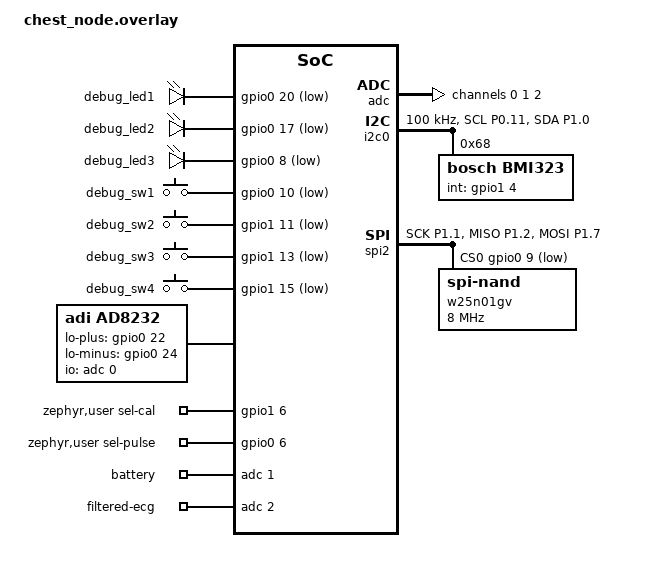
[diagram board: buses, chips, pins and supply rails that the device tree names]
/*
ad8232 
P0.22 - lo - plus
P0.24 - lo - minus
P0.29 - out
----------------
BMI323
P1.04 - int1
P0.11 - scl
P1.00 - sda
---------------
Led
P0.20 - led1
P0.17 - led2
P0.08 - led3
---------------
W25N01GV
P0.09 - cs
P1.01 - sck
P1.02 - miso
P1.07 - mosi
--------------
Switch 4
P0.10 - sw1 
P1.11 - sw2
P1.13 - sw3
P1.15 - sw4
-------------
Battery Monitoring 
P0.31 - bat
--------------
Bandpass filter
P0.02 - out-filter (analog signal)
-------------
74HC4053D/S400118
P0.06 - SEL_PULSE
P1.06 - SEL_CAL

Mode 
SEL_CAL SEL_PULSE     mode         Điện áp vi sai      
1           x        Đo ecg gốc 
1           x    
0           0        calibrate       0 mV
0           1        calibrate       +1 mV

*/

#include <zephyr/dt-bindings/adc/nrf-saadc.h>
#include <zephyr/dt-bindings/gpio/gpio.h>
#include <zephyr/dt-bindings/input/input-event-codes.h>
#include <zephyr/dt-bindings/i2c/i2c.h>
#include <zephyr/dt-bindings/pinctrl/nrf-pinctrl.h>

/ {
    /* Debug LEDs. */
    debug_leds {
        compatible = "gpio-leds";
        /* Assumes LEDs turn on when driven low. */
        debug_led1: led_1 {
            gpios = <&gpio0 20 GPIO_ACTIVE_LOW>;
        };
        debug_led2: led_2 {
            gpios = <&gpio0 17 GPIO_ACTIVE_LOW>;
        };
        debug_led3: led_3 {
            gpios = <&gpio0 8 GPIO_ACTIVE_LOW>;
        };
    };

    /* Debug switches. */
    debug_switches {
        compatible = "gpio-keys";
        /* Assumes switches connect the inputs to ground. */
        debug_sw1: switch_1 {
            gpios = <&gpio0 10 (GPIO_PULL_UP | GPIO_ACTIVE_LOW)>;
            zephyr,code = <INPUT_KEY_0>;
        };
        debug_sw2: switch_2 {
            gpios = <&gpio1 11 (GPIO_PULL_UP | GPIO_ACTIVE_LOW)>;
            zephyr,code = <INPUT_KEY_1>;
        };
        debug_sw3: switch_3 {
            gpios = <&gpio1 13 (GPIO_PULL_UP | GPIO_ACTIVE_LOW)>;
            zephyr,code = <INPUT_KEY_2>;
        };
        debug_sw4: switch_4 {
            gpios = <&gpio1 15 (GPIO_PULL_UP | GPIO_ACTIVE_LOW)>;
            zephyr,code = <INPUT_KEY_3>;
        };
    };

    ad8232: ad8232 {
        compatible = "adi,ad8232";              /* Bind node to AD8232 driver */
        io-channels = <&adc 0>;                 /* Connect AD8232 output to ADC */
        lo-plus-gpios  = <&gpio0 22 GPIO_ACTIVE_HIGH>;  /* Read LO+ status */
        lo-minus-gpios = <&gpio0 24 GPIO_ACTIVE_HIGH>;  /* Read LO- status */

        status = "okay";                        /* Enable device */
    };

    /* Battery and filtered ECG inputs, and calibration control outputs. */
    zephyr,user {
        io-channels = <&adc 1>, <&adc 2>;
        io-channel-names = "battery", "filtered-ecg";

        sel-cal-gpios = <&gpio1 6 GPIO_ACTIVE_HIGH>;
        sel-pulse-gpios = <&gpio0 6 GPIO_ACTIVE_HIGH>;
    };


};

/* ADC inputs for raw ECG, battery voltage, and filtered ECG. */
&adc {
    status = "okay";                            /* Enable ADC peripheral */

    #address-cells = <1>;
    #size-cells = <0>;

    /* AD8232 output: P0.29 / AIN5. */
    channel@0 {
        reg = <0>;                              /* Select ADC channel 0 */

        zephyr,gain = "ADC_GAIN_1_6";           /* Configure ADC gain */
        zephyr,reference = "ADC_REF_INTERNAL";  /* Use internal ADC reference */
        zephyr,acquisition-time = <ADC_ACQ_TIME_DEFAULT>; /* Set acquisition time */

        zephyr,input-positive = <NRF_SAADC_AIN5>; /* Select analog input ~ P029*/ 

        zephyr,resolution = <12>;               /* Set 12-bit resolution */
    };

    /* Battery: P0.31 / AIN7. */
    channel@1 {
        reg = <1>;
        zephyr,gain = "ADC_GAIN_1_6";
        zephyr,reference = "ADC_REF_INTERNAL";
        zephyr,acquisition-time = <ADC_ACQ_TIME_DEFAULT>;
        zephyr,input-positive = <NRF_SAADC_AIN7>;
        zephyr,resolution = <12>;
    };

    /* Filter output: P0.02 / AIN0. */
    channel@2 {
        reg = <2>;
        zephyr,gain = "ADC_GAIN_1_6";
        zephyr,reference = "ADC_REF_INTERNAL";
        zephyr,acquisition-time = <ADC_ACQ_TIME_DEFAULT>;
        zephyr,input-positive = <NRF_SAADC_AIN0>;
        zephyr,resolution = <12>;
    };


};

&i2c0 {
    status = "okay";                            /* Enable I2C controller */

    pinctrl-0 = <&bmi323_i2c_default>;                /* Use normal I2C pin state */
    pinctrl-1 = <&bmi323_i2c_sleep>;                  /* Use low-power pin state */
    pinctrl-names = "default", "sleep";         /* Define available pin states */

    clock-frequency = <I2C_BITRATE_STANDARD>;   /* Set I2C speed */

    /* BMI323 motion sensor on I2C address 0x68. */
    bmi323: bmi323@68 {
        compatible = "bosch,bmi323";            /* Bind node to BMI323 driver */

        reg = <0x68>;                           /* Set sensor I2C address */

        int-gpios = <&gpio1 4 GPIO_ACTIVE_HIGH>; /* Receive sensor interrupt */

        status = "okay";                        /* Enable sensor */
    };
};
&i2c1 {
    status = "disabled";
};
&uart0 {
    status = "disabled";
};

/* SPI0 shares hardware with I2C0 on nRF52840. */
&spi0 {
    status = "disabled";
};

&spi2 {
    status = "okay";
    pinctrl-0 = <&w25n01gv_spi_default>;
    pinctrl-1 = <&w25n01gv_spi_sleep>;
    pinctrl-names = "default", "sleep";

    /* Active-low chip select for the NAND. */
    cs-gpios = <&gpio0 9 GPIO_ACTIVE_LOW>;

    w25n01gv: flash@0 {
        compatible = "jedec,spi-nand";
        reg = <0>; /* Uses chip-select entry 0. */
        /* nRF52840 SPIM2 limit; W25N01GV supports a higher clock. */
        spi-max-frequency = <8000000>;
        jedec-id = [ef aa 21]; /* W25N01GV manufacturer and device ID. */
        size-bytes = <134217728>; /* Total capacity: 1 Gbit = 128 MiB. */
        erase-block-size = <131072>; /* Physical erase block: 64 × 2048-byte pages. */
        write-block-size = <2048>; /* NAND page-program size. */
        /* Maximum operation times in microseconds; follow the chip datasheet. */
        block-erase-duration-max = <10000>;
        page-program-duration-max = <700>;
        page-read-duration-max = <100>;
        reset-duration-max = <500>;
        status = "okay";
    };
};

/* I2C and SPI signal pins. */
&pinctrl {
    bmi323_i2c_default: bmi323_i2c_default {
        group1 {
            psels = <NRF_PSEL(TWIM_SCL, 0, 11)>,
                    <NRF_PSEL(TWIM_SDA, 1, 0)>;
        };
    };
    /* Low-power I2C pin configuration. */
    bmi323_i2c_sleep: bmi323_i2c_sleep {
        group1 {
            psels = <NRF_PSEL(TWIM_SCL, 0, 11)>,
                    <NRF_PSEL(TWIM_SDA, 1, 0)>;
            low-power-enable;
        };
    };

    w25n01gv_spi_default: w25n01gv_spi_default {
        group1 {
            psels = <NRF_PSEL(SPIM_SCK, 1, 1)>,
                    <NRF_PSEL(SPIM_MISO, 1, 2)>,
                    <NRF_PSEL(SPIM_MOSI, 1, 7)>;
        };
    };
    w25n01gv_spi_sleep: w25n01gv_spi_sleep {
        group1 {
            psels = <NRF_PSEL(SPIM_SCK, 1, 1)>,
                    <NRF_PSEL(SPIM_MISO, 1, 2)>,
                    <NRF_PSEL(SPIM_MOSI, 1, 7)>;
            low-power-enable;
        };
    };  

};
